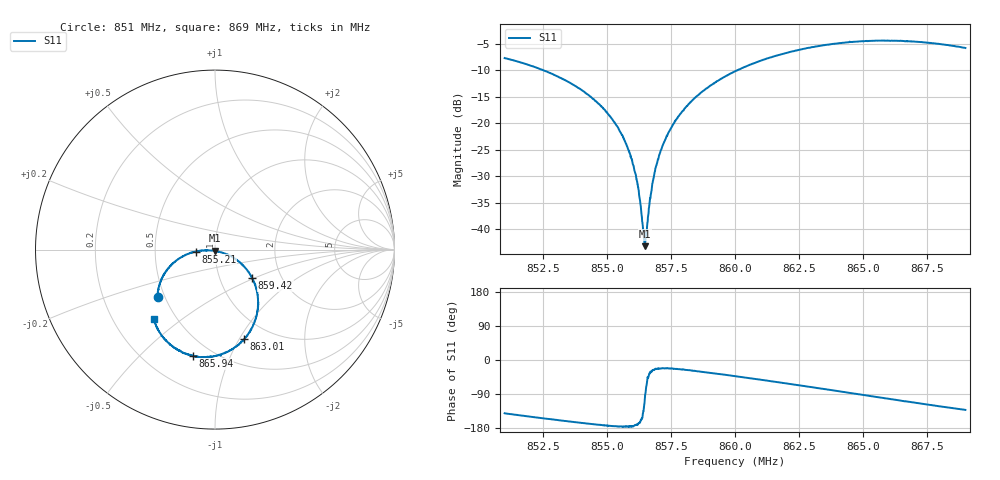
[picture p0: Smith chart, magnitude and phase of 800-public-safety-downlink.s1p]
! Calibrated averaged scanner-service zoom
# Hz S RI R 50
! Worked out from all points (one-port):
!   2001 points, 851 MHz to 869 MHz, reference 50 ohm
!   lowest |S11| = -43.2 dB at 856.47 MHz (marker M1), VSWR 1.01, Z = 49.8 - j0.657 ohm
!   |S11| at or under -10 dB: 852.52 MHz to 860.08 MHz (7.563 MHz wide, 0.883 % of centre)
!   S11 on the Smith chart (normalised r, x): 851 MHz: 0.46, -0.29; 855.21 MHz: 0.80, -0.02; 859.42 MHz: 1.43, -0.48; 863.01 MHz: 0.76, -1.05; 865.94 MHz: 0.39, -0.74; 869 MHz: 0.38, -0.39
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8.51e8  -0.3194 -0.2623
8.5325e8  -0.2471 -0.0906
8.5433e8  -0.1767 -0.0368
8.55212e8  -0.1082 -0.0108
8.555e8  -0.0838 -0.00698
8.55824e8  -0.0569 -0.00407
8.56067e8  -0.0358 -0.00434
8.56211e8  -0.0245 -0.00429
8.56292e8  -0.0179 -0.00499
8.56409e8  -0.00748 -0.00642
8.56472e8  -0.00204 -0.0066
8.56544e8  0.00369 -0.00876
8.56688e8  0.0165 -0.0108
8.56796e8  0.0257 -0.013
8.56976e8  0.0406 -0.0169
8.57309e8  0.0683 -0.0273
8.5775e8  0.1031 -0.0456
8.58443e8  0.1525 -0.0845
8.59424e8  0.2071 -0.158
8.6e8  0.2272 -0.2096
8.6117e8  0.2391 -0.3251
8.6225e8  0.2095 -0.4308
8.63015e8  0.1629 -0.4986
8.645e8  0.0319 -0.5853
8.6594e8  -0.123 -0.5926
8.6675e8  -0.203 -0.5615
8.67947e8  -0.2977 -0.4793
8.69e8  -0.3426 -0.3847
